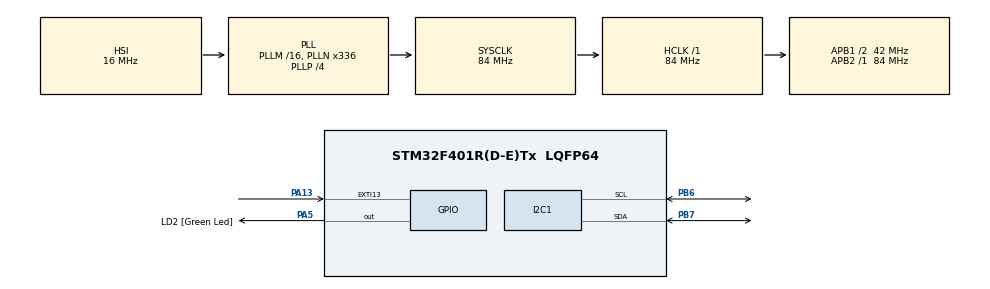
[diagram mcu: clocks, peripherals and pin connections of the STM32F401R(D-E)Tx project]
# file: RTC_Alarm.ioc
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Mcu.Family=STM32F4
Mcu.Name=STM32F401R(D-E)Tx
Mcu.Package=LQFP64
NVIC.EXTI15_10_IRQn=true\:0\:0\:true\:false\:true\:true\:true\:true
NVIC.PriorityGroup=NVIC_PRIORITYGROUP_0
PA13.GPIO_ModeDefaultEXTI=GPIO_MODE_IT_FALLING
PA13.Signal=GPXTI13
PA14.GPIO_Label=TCK
PA14.Signal=SYS_JTCK-SWCLK
PA2.GPIO_Label=USART_TX
PA2.GPIO_Mode=GPIO_MODE_AF_PP
PA2.GPIO_PuPd=GPIO_NOPULL
PA2.GPIO_Speed=GPIO_SPEED_FREQ_LOW
PA2.Signal=USART2_TX
PA3.GPIO_Label=USART_RX
PA3.GPIO_Mode=GPIO_MODE_AF_PP
PA3.GPIO_PuPd=GPIO_NOPULL
PA3.GPIO_Speed=GPIO_SPEED_FREQ_LOW
PA3.Signal=USART2_RX
PA5.GPIO_Label=LD2 [Green Led]
PA5.GPIO_Mode=GPIO_MODE_OUTPUT_PP
PA5.GPIO_PuPd=GPIO_NOPULL
PA5.GPIO_Speed=GPIO_SPEED_FREQ_LOW
PA5.Signal=GPIO_Output
PB3.GPIO_Label=SWO
PB3.Signal=SYS_JTDO-SWO
PB6.Mode=I2C
PB6.Signal=I2C1_SCL
PB7.Mode=I2C
PB7.Signal=I2C1_SDA
PC14-OSC32_IN.Signal=RCC_OSC32_IN
PC15-OSC32_OUT.Signal=RCC_OSC32_OUT
PH0\ -\ OSC_IN.Signal=RCC_OSC_IN
PH1\ -\ OSC_OUT.Signal=RCC_OSC_OUT
ProjectManager.HeapSize=0x200
ProjectManager.StackSize=0x400
ProjectManager.TargetToolchain=STM32CubeIDE
RCC.AHBFreq_Value=84000000
RCC.APB1CLKDivider=RCC_HCLK_DIV2
RCC.APB1Freq_Value=42000000
RCC.APB1TimFreq_Value=84000000
RCC.APB2Freq_Value=84000000
RCC.APB2TimFreq_Value=84000000
RCC.CortexFreq_Value=84000000
RCC.HCLKFreq_Value=84000000
RCC.HSE_VALUE=8000000
RCC.HSI_VALUE=16000000
RCC.LSE_VALUE=32768
RCC.PLLN=336
RCC.PLLP=RCC_PLLP_DIV4
RCC.PLLQ=7
RCC.SYSCLKFreq_VALUE=84000000
RCC.SYSCLKSource=RCC_SYSCLKSOURCE_PLLCLK
RCC.VCOOutputFreq_Value=336000000
VP_RTC_VS_RTC_Activate.Mode=RTC_Enabled
board=NUCLEO-F401RE

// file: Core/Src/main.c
/* USER CODE BEGIN Header */
/**
  ******************************************************************************
  * @file           : main.c
  * @brief          : Main program body
  ******************************************************************************
  * @attention
  *
  * Copyright (c) 2024 STMicroelectronics.
  * All rights reserved.
  *
  * This software is licensed under terms that can be found in the LICENSE file
  * in the root directory of this software component.
  * If no LICENSE file comes with this software, it is provided AS-IS.
  *
  ******************************************************************************
  */
/* USER CODE END Header */
#include "main.h"

/* USER CODE BEGIN PM */

#define DS3231_ADDRESS 0xD0

/* USER CODE END PM */

I2C_HandleTypeDef hi2c1;

RTC_HandleTypeDef hrtc;

void SystemClock_Config(void);
static void MX_GPIO_Init(void);
static void MX_I2C1_Init(void);
static void MX_RTC_Init(void);
/* USER CODE BEGIN PFP */

uint8_t decToBcd(int);
int bcdToDec(uint8_t);

void Get_Time (void);
void Set_Time (uint8_t , uint8_t, uint8_t, uint8_t, uint8_t, uint8_t, uint8_t);
void Set_Alarm2(uint8_t min, uint8_t hour);

/* USER CODE END PFP */

/* USER CODE BEGIN 0 */

typedef struct{
	uint8_t seconds;
	uint8_t minutes;
	uint8_t hour;
	uint8_t dayofweek;
	uint8_t dayofmonth;
	uint8_t month;
	uint8_t year;
}Time;
Time time ={0, 0, 0, 0, 0, 0, 0};

/* USER CODE END 0 */

int main(void)
{

  /* MCU Configuration--------------------------------------------------------*/

  /* Reset of all peripherals, Initializes the Flash interface and the Systick. */
  HAL_Init();

  /* Configure the system clock */
  SystemClock_Config();

  /* Initialize all configured peripherals */
  MX_GPIO_Init();
  MX_I2C1_Init();
  MX_RTC_Init();
  /* USER CODE BEGIN 2 */

  Set_Time(00, 57, 12, 5, 16, 2, 24);

  Get_Time();

  Set_Alarm2(58, 12);
  /* USER CODE END 2 */

  /* Infinite loop */
  while (1)
  {

  }
}

void SystemClock_Config(void)
{
  RCC_OscInitTypeDef RCC_OscInitStruct = {0};
  RCC_ClkInitTypeDef RCC_ClkInitStruct = {0};

  /** Configure the main internal regulator output voltage
  */
  __HAL_RCC_PWR_CLK_ENABLE();
  __HAL_PWR_VOLTAGESCALING_CONFIG(PWR_REGULATOR_VOLTAGE_SCALE2);

  /** Initializes the RCC Oscillators according to the specified parameters
  * in the RCC_OscInitTypeDef structure.
  */
  RCC_OscInitStruct.OscillatorType = RCC_OSCILLATORTYPE_HSI|RCC_OSCILLATORTYPE_LSI;
  RCC_OscInitStruct.HSIState = RCC_HSI_ON;
  RCC_OscInitStruct.HSICalibrationValue = RCC_HSICALIBRATION_DEFAULT;
  RCC_OscInitStruct.LSIState = RCC_LSI_ON;
  RCC_OscInitStruct.PLL.PLLState = RCC_PLL_ON;
  RCC_OscInitStruct.PLL.PLLSource = RCC_PLLSOURCE_HSI;
  RCC_OscInitStruct.PLL.PLLM = 16;
  RCC_OscInitStruct.PLL.PLLN = 336;
  RCC_OscInitStruct.PLL.PLLP = RCC_PLLP_DIV4;
  RCC_OscInitStruct.PLL.PLLQ = 7;
  if (HAL_RCC_OscConfig(&RCC_OscInitStruct) != HAL_OK)
  {
    Error_Handler();
  }

  /** Initializes the CPU, AHB and APB buses clocks
  */
  RCC_ClkInitStruct.ClockType = RCC_CLOCKTYPE_HCLK|RCC_CLOCKTYPE_SYSCLK
                              |RCC_CLOCKTYPE_PCLK1|RCC_CLOCKTYPE_PCLK2;
  RCC_ClkInitStruct.SYSCLKSource = RCC_SYSCLKSOURCE_PLLCLK;
  RCC_ClkInitStruct.AHBCLKDivider = RCC_SYSCLK_DIV1;
  RCC_ClkInitStruct.APB1CLKDivider = RCC_HCLK_DIV2;
  RCC_ClkInitStruct.APB2CLKDivider = RCC_HCLK_DIV1;

  if (HAL_RCC_ClockConfig(&RCC_ClkInitStruct, FLASH_LATENCY_2) != HAL_OK)
  {
    Error_Handler();
  }
}

static void MX_I2C1_Init(void)
{

  hi2c1.Instance = I2C1;
  hi2c1.Init.ClockSpeed = 100000;
  hi2c1.Init.DutyCycle = I2C_DUTYCYCLE_2;
  hi2c1.Init.OwnAddress1 = 0;
  hi2c1.Init.AddressingMode = I2C_ADDRESSINGMODE_7BIT;
  hi2c1.Init.DualAddressMode = I2C_DUALADDRESS_DISABLE;
  hi2c1.Init.OwnAddress2 = 0;
  hi2c1.Init.GeneralCallMode = I2C_GENERALCALL_DISABLE;
  hi2c1.Init.NoStretchMode = I2C_NOSTRETCH_DISABLE;
  if (HAL_I2C_Init(&hi2c1) != HAL_OK)
  {
    Error_Handler();
  }

}

static void MX_RTC_Init(void)
{

  /** Initialize RTC Only
  */
  hrtc.Instance = RTC;
  hrtc.Init.HourFormat = RTC_HOURFORMAT_24;
  hrtc.Init.AsynchPrediv = 127;
  hrtc.Init.SynchPrediv = 255;
  hrtc.Init.OutPut = RTC_OUTPUT_DISABLE;
  hrtc.Init.OutPutPolarity = RTC_OUTPUT_POLARITY_HIGH;
  hrtc.Init.OutPutType = RTC_OUTPUT_TYPE_OPENDRAIN;
  if (HAL_RTC_Init(&hrtc) != HAL_OK)
  {
    Error_Handler();
  }

}

static void MX_GPIO_Init(void)
{
  GPIO_InitTypeDef GPIO_InitStruct = {0};

  /* GPIO Ports Clock Enable */
  __HAL_RCC_GPIOC_CLK_ENABLE();
  __HAL_RCC_GPIOH_CLK_ENABLE();
  __HAL_RCC_GPIOA_CLK_ENABLE();
  __HAL_RCC_GPIOB_CLK_ENABLE();

  /*Configure GPIO pin Output Level */
  HAL_GPIO_WritePin(LD2_GPIO_Port, LD2_Pin, GPIO_PIN_RESET);

  /*Configure GPIO pins : USART_TX_Pin USART_RX_Pin */
  GPIO_InitStruct.Pin = USART_TX_Pin|USART_RX_Pin;
  GPIO_InitStruct.Mode = GPIO_MODE_AF_PP;
  GPIO_InitStruct.Pull = GPIO_NOPULL;
  GPIO_InitStruct.Speed = GPIO_SPEED_FREQ_LOW;
  GPIO_InitStruct.Alternate = GPIO_AF7_USART2;
  HAL_GPIO_Init(GPIOA, &GPIO_InitStruct);

  /*Configure GPIO pin : LD2_Pin */
  GPIO_InitStruct.Pin = LD2_Pin;
  GPIO_InitStruct.Mode = GPIO_MODE_OUTPUT_PP;
  GPIO_InitStruct.Pull = GPIO_NOPULL;
  GPIO_InitStruct.Speed = GPIO_SPEED_FREQ_LOW;
  HAL_GPIO_Init(LD2_GPIO_Port, &GPIO_InitStruct);

  /*Configure GPIO pin : PA13 */
  GPIO_InitStruct.Pin = GPIO_PIN_13;
  GPIO_InitStruct.Mode = GPIO_MODE_IT_FALLING;
  GPIO_InitStruct.Pull = GPIO_NOPULL;
  HAL_GPIO_Init(GPIOA, &GPIO_InitStruct);

  /* EXTI interrupt init*/
  HAL_NVIC_SetPriority(EXTI15_10_IRQn, 0, 0);
  HAL_NVIC_EnableIRQ(EXTI15_10_IRQn);

}

/* USER CODE BEGIN 4 */

// Convert normal decimal numbers to binary coded decimal
uint8_t decToBcd(int val)
{
  return (uint8_t)( (val/10*16) + (val%10) );
}
// Convert binary coded decimal to normal decimal numbers

int bcdToDec(uint8_t val)
{
  return (int)( (val/16*10) + (val%16) );
}

void Set_Time (uint8_t sec, uint8_t min, uint8_t hour, uint8_t dow, uint8_t dom, uint8_t month, uint8_t year)
{
	uint8_t set_time[7];
	set_time[0] = decToBcd(sec);
	set_time[1] = decToBcd(min);
	set_time[2] = decToBcd(hour);
	set_time[3] = decToBcd(dow);
	set_time[4] = decToBcd(dom);
	set_time[5] = decToBcd(month);
	set_time[6] = decToBcd(year);

	HAL_I2C_Mem_Write(&hi2c1, DS3231_ADDRESS, 0x00, 1, set_time, 7, 1000);
}

void Get_Time (void)
{
	uint8_t get_time[7];
	HAL_I2C_Mem_Read(&hi2c1, DS3231_ADDRESS, 0x00, 1, get_time, 7, 1000);
	time.seconds = bcdToDec(get_time[0]);
	time.minutes = bcdToDec(get_time[1]);
	time.hour = bcdToDec(get_time[2]);
	time.dayofweek = bcdToDec(get_time[3]);
	time.dayofmonth = bcdToDec(get_time[4]);
	time.month = bcdToDec(get_time[5]);
	time.year = bcdToDec(get_time[6]);
}

void Set_Alarm2(uint8_t min, uint8_t hour) {
    uint8_t alarm2_data[2]; // Alarm 2 data: minutes and hours

    // Convert minutes and hours to BCD format
    alarm2_data[0] = decToBcd(min);
    alarm2_data[1] = decToBcd(hour);

    // Write alarm data to Alarm 2 registers (0x0B for minutes, 0x0C for hours)
    HAL_I2C_Mem_Write(&hi2c1, DS3231_ADDRESS, 0x0B, 1, alarm2_data, 2, 1000);

    // Enable Alarm 2 Interrupt
    uint8_t control_reg_data;
    HAL_I2C_Mem_Read(&hi2c1, DS3231_ADDRESS, 0x0E, 1, &control_reg_data, 1, 1000);
    control_reg_data |= (1 << 1); // Set A2IE bit to enable Alarm 2 interrupt
    HAL_I2C_Mem_Write(&hi2c1, DS3231_ADDRESS, 0x0E, 1, &control_reg_data, 1, 1000);
}

/* USER CODE END 4 */

void Error_Handler(void)
{
  __disable_irq();
  while (1)
  {
  }
}
